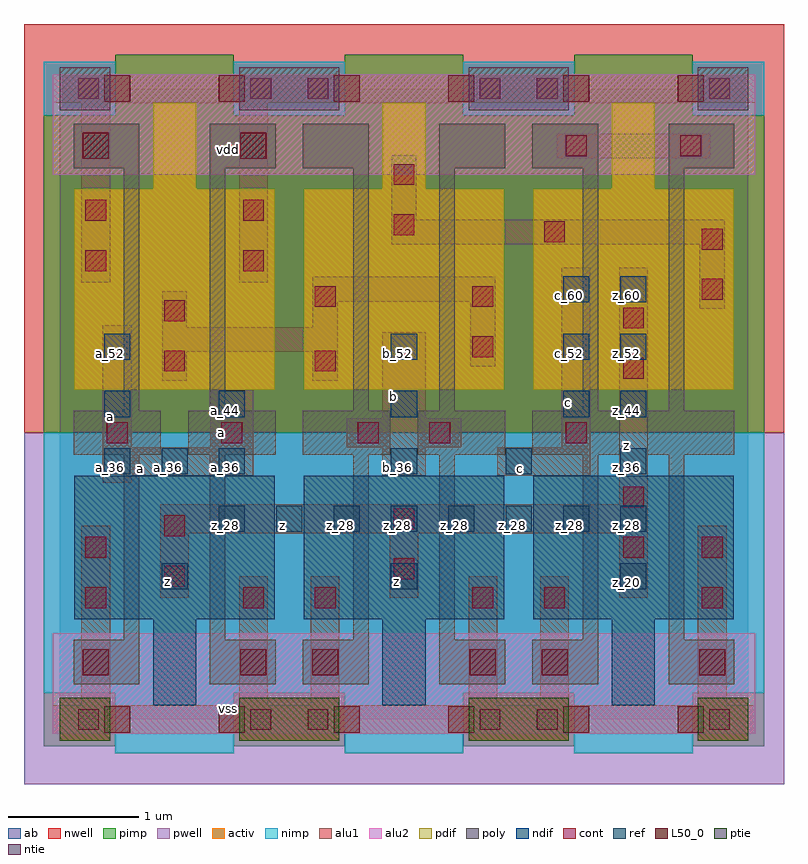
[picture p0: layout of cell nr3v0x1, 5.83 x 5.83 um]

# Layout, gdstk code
import gdstk
lib = gdstk.Library(unit=1e-6, precision=2.5e-09)
def R(c, l, rs):  # rectangles x0, y0, x1, y1
    for r in rs: c.add(gdstk.rectangle(r[:2], r[2:], *l))
def A(c, l, x, y, w, h, nx, ny, dx, dy):  # array of equal rectangles
    R(c, l, [(x+i*dx, y+j*dy, x+i*dx+w, y+j*dy+h) for i in range(nx) for j in range(ny)])
ndif = (3, 0)
pdif = (4, 0)
ntie = (5, 0)
ptie = (6, 0)
ref = (24, 0)
cont = (25, 0)
pwell = (41, 0)
nwell = (42, 0)
activ = (43, 0)
pimp = (44, 0)
nimp = (45, 0)
poly = (46, 0)
alu1 = (49, 0)
L50_0 = (50, 0)
alu2 = (51, 0)
ab = (63, 0)

nr3v0x1 = lib.new_cell('nr3v0x1')
A(nr3v0x1, ndif, 0.715, 0.11, 0.33, 0.66, 3, 1, 1.76, 0)
A(nr3v0x1, ndif, 0.11, 0.77, 1.54, 1.1, 3, 1, 1.76, 0)
A(nr3v0x1, pdif, 0.11, 2.53, 1.54, 1.54, 3, 1, 1.76, 0)
A(nr3v0x1, pdif, 0.715, 4.07, 0.33, 0.66, 3, 1, 1.76, 0)
R(nr3v0x1, ntie, [(0,4.675,0.385,5.005), (1.375,4.675,2.145,5.005), (3.135,4.675,3.905,5.005), (4.895,4.675,5.28,5.005)])
R(nr3v0x1, ptie, [(0,-0.165,0.385,0.165), (1.375,-0.165,2.145,0.165), (3.135,-0.165,3.905,0.165), (4.895,-0.165,5.28,0.165)])
A(nr3v0x1, ref, 0.78, 1, 0.2, 0.2, 3, 1, 1.76, 0)
A(nr3v0x1, ref, 1.22, 1.44, 0.2, 0.2, 8, 1, 0.44, 0)
A(nr3v0x1, ref, 0.34, 1.88, 0.2, 0.2, 3, 1, 0.44, 0)
A(nr3v0x1, ref, 2.54, 1.88, 0.2, 0.2, 3, 1, 0.88, 0)
A(nr3v0x1, ref, 1.22, 2.32, 0.2, 0.2, 3, 1, 1.32, 0)
A(nr3v0x1, ref, 4.3, 2.32, 0.2, 0.2, 1, 3, 0, 0.44)
R(nr3v0x1, ref, [(0.34,2.32,0.54,2.52), (0.34,2.76,0.54,2.96), (2.54,2.76,2.74,2.96), (3.86,2.76,4.06,2.96), (3.86,3.2,4.06,3.4)])
R(nr3v0x1, cont, [(0.14,-0.08,0.3,0.08), (1.46,-0.08,1.62,0.08), (1.9,-0.08,2.06,0.08), (3.22,-0.08,3.38,0.08), (3.66,-0.08,3.82,0.08), (4.98,-0.08,5.14,0.08), (0.195,0.855,0.355,1.015), (1.405,0.855,1.565,1.015), (1.955,0.855,2.115,1.015), (3.165,0.855,3.325,1.015), (3.715,0.855,3.875,1.015), (4.925,0.855,5.085,1.015), (0.8,1.02,0.96,1.18), (2.56,1.075,2.72,1.235), (0.195,1.24,0.355,1.4), (4.32,1.24,4.48,1.4), (4.925,1.24,5.085,1.4), (0.8,1.405,0.96,1.565), (2.56,1.46,2.72,1.62), (4.32,1.625,4.48,1.785), (0.36,2.12,0.52,2.28), (1.24,2.12,1.4,2.28), (2.285,2.12,2.445,2.28), (2.835,2.12,2.995,2.28), (3.88,2.12,4.04,2.28), (4.32,2.615,4.48,2.775), (0.8,2.67,0.96,2.83), (1.955,2.67,2.115,2.83), (3.165,2.78,3.325,2.94), (4.32,3,4.48,3.16), (0.8,3.055,0.96,3.215), (1.955,3.165,2.115,3.325), (3.165,3.165,3.325,3.325), (4.925,3.22,5.085,3.38), (0.195,3.44,0.355,3.6), (1.405,3.44,1.565,3.6), (4.925,3.605,5.085,3.765), (3.715,3.66,3.875,3.82), (2.56,3.715,2.72,3.875), (0.195,3.825,0.355,3.985), (1.405,3.825,1.565,3.985), (2.56,4.1,2.72,4.26), (3.88,4.32,4.04,4.48), (4.76,4.32,4.92,4.48), (0.14,4.76,0.3,4.92), (1.46,4.76,1.62,4.92), (1.9,4.76,2.06,4.92), (3.22,4.76,3.38,4.92), (3.66,4.76,3.82,4.92), (4.98,4.76,5.14,4.92)])
R(nr3v0x1, pwell, [(-0.275,-0.495,5.555,2.2)])
R(nr3v0x1, nwell, [(-0.275,2.2,5.555,5.335)])
A(nr3v0x1, activ, 0.715, 0.11, 0.33, 0.66, 3, 2, 1.76, 3.96)
A(nr3v0x1, activ, 0.11, 0.77, 1.54, 1.1, 3, 1, 1.76, 0)
A(nr3v0x1, activ, 0.11, 2.53, 1.54, 1.54, 3, 1, 1.76, 0)
R(nr3v0x1, activ, [(0,-0.165,0.385,0.165), (1.375,-0.165,2.145,0.165), (3.135,-0.165,3.905,0.165), (4.895,-0.165,5.28,0.165), (0,4.675,0.385,5.005), (1.375,4.675,2.145,5.005), (3.135,4.675,3.905,5.005), (4.895,4.675,5.28,5.005)])
A(nr3v0x1, pimp, 0.425, 4.635, 0.91, 0.465, 3, 1, 1.76, 0)
R(nr3v0x1, pimp, [(-0.125,-0.205,0.425,0.205), (1.335,-0.205,2.185,0.205), (3.095,-0.205,3.945,0.205), (4.855,-0.205,5.405,0.205), (-0.125,2.2,5.405,4.635)])
A(nr3v0x1, nimp, 0.425, -0.26, 0.91, 0.465, 3, 1, 1.76, 0)
R(nr3v0x1, nimp, [(-0.125,0.205,5.405,2.2), (-0.125,4.635,0.425,5.045), (1.335,4.635,2.185,5.045), (3.095,4.635,3.945,5.045), (4.855,4.635,5.405,5.045)])
A(nr3v0x1, poly, 0.105, 2.03, 0.67, 0.34, 6, 1, 0.88, 0)
R(nr3v0x1, poly, [(0.105,0.27,0.61,0.61), (1.15,0.27,1.655,0.61), (1.865,0.27,2.37,0.61), (2.91,0.27,3.415,0.61), (3.625,0.27,4.13,0.61), (4.67,0.27,5.175,0.61), (0.49,0.61,0.61,2.03), (1.15,0.61,1.27,2.03), (2.25,0.61,2.37,2.03), (2.91,0.61,3.03,2.03), (4.01,0.61,4.13,2.03), (4.67,0.61,4.79,2.03), (0.49,2.37,0.61,4.23), (1.15,2.37,1.27,4.23), (2.25,2.37,2.37,4.23), (2.91,2.37,3.03,4.23), (4.01,2.37,4.13,4.23), (4.67,2.37,4.79,4.23), (0.105,4.23,0.61,4.57), (1.15,4.23,1.655,4.57), (1.865,4.23,2.37,4.57), (2.91,4.23,3.415,4.57), (3.625,4.23,4.13,4.57), (4.67,4.23,5.175,4.57)])
A(nr3v0x1, alu1, 0.77, 0.935, 0.22, 0.495, 3, 1, 1.76, 0)
R(nr3v0x1, alu1, [(-0.055,-0.11,5.335,0.11), (0.165,0.11,0.385,1.485), (1.375,0.11,1.595,1.1), (1.925,0.11,2.145,1.1), (3.135,0.11,3.355,1.1), (3.685,0.11,3.905,1.1), (4.895,0.11,5.115,1.485), (0.77,1.43,4.51,1.65), (4.29,1.65,4.51,3.465), (0.33,1.815,0.55,1.87), (0.33,1.87,1.485,2.09), (2.475,1.87,2.805,2.09), (3.355,1.87,4.07,2.09), (0.33,2.09,0.55,3.025), (1.155,2.09,1.485,2.53), (2.2,2.09,3.08,2.31), (3.85,2.09,4.07,3.465), (2.475,2.31,2.805,2.97), (0.785,2.6,0.975,2.82), (1.94,2.6,2.13,2.82), (3.15,2.71,3.34,3.205), (0.785,2.82,2.13,3.01), (0.785,3.01,0.975,3.285), (1.94,3.01,2.13,3.205), (4.91,3.15,5.1,3.645), (1.94,3.205,3.34,3.395), (0.165,3.355,0.385,4.73), (1.375,3.355,1.595,4.73), (2.545,3.645,5.1,3.835), (2.545,3.835,2.735,4.33), (3.81,4.305,4.99,4.495), (-0.055,4.73,5.335,4.95)])
A(nr3v0x1, L50_0, 0.34, -0.1, 0.2, 0.2, 6, 2, 0.88, 4.84)
R(nr3v0x1, L50_0, [(0.175,0.34,0.375,0.54), (1.385,0.34,1.585,0.54), (1.935,0.34,2.135,0.54), (3.145,0.34,3.345,0.54), (3.695,0.34,3.895,0.54), (4.905,0.34,5.105,0.54), (0.175,4.3,0.375,4.5), (1.385,4.3,1.585,4.5)])
R(nr3v0x1, alu2, [(-0.055,-0.11,5.335,0.66), (-0.055,4.18,5.335,4.95)])
R(nr3v0x1, ab, [(0,0,5.28,4.84)])
nr3v0x1.add(gdstk.Label('z', (2.585,1.0575), layer=49, texttype=0))
nr3v0x1.add(gdstk.Label('z', (0.825,1.0575), layer=49, texttype=0))
nr3v0x1.add(gdstk.Label('z', (1.705,1.485), layer=49, texttype=0))
nr3v0x1.add(gdstk.Label('z', (4.345,2.1025), layer=49, texttype=0))
nr3v0x1.add(gdstk.Label('c', (3.5325,1.925), layer=49, texttype=0))
nr3v0x1.add(gdstk.Label('a', (0.6175,1.925), layer=49, texttype=0))
nr3v0x1.add(gdstk.Label('c', (3.905,2.4325), layer=49, texttype=0))
nr3v0x1.add(gdstk.Label('b', (2.5575,2.475), layer=49, texttype=0))
nr3v0x1.add(gdstk.Label('a', (1.2375,2.2), layer=49, texttype=0))
nr3v0x1.add(gdstk.Label('a', (0.385,2.3225), layer=49, texttype=0))
nr3v0x1.add(gdstk.Label('vss', (1.2925,0.0825), layer=51, texttype=0))
nr3v0x1.add(gdstk.Label('vdd', (1.2925,4.3725), layer=51, texttype=0))
nr3v0x1.add(gdstk.Label('z_52', (4.35,2.81), layer=24, texttype=0))
nr3v0x1.add(gdstk.Label('z_44', (4.35,2.37), layer=24, texttype=0))
nr3v0x1.add(gdstk.Label('z_36', (4.35,1.93), layer=24, texttype=0))
nr3v0x1.add(gdstk.Label('z_28', (4.35,1.49), layer=24, texttype=0))
nr3v0x1.add(gdstk.Label('z_20', (4.35,1.05), layer=24, texttype=0))
nr3v0x1.add(gdstk.Label('z_60', (4.35,3.25), layer=24, texttype=0))
nr3v0x1.add(gdstk.Label('z_20', (0.83,1.05), layer=24, texttype=0))
nr3v0x1.add(gdstk.Label('a_36', (0.39,1.93), layer=24, texttype=0))
nr3v0x1.add(gdstk.Label('a_44', (0.39,2.37), layer=24, texttype=0))
nr3v0x1.add(gdstk.Label('a_52', (0.39,2.81), layer=24, texttype=0))
nr3v0x1.add(gdstk.Label('c_44', (3.91,2.37), layer=24, texttype=0))
nr3v0x1.add(gdstk.Label('c_52', (3.91,2.81), layer=24, texttype=0))
nr3v0x1.add(gdstk.Label('z_28', (3.91,1.49), layer=24, texttype=0))
nr3v0x1.add(gdstk.Label('z_28', (3.47,1.49), layer=24, texttype=0))
nr3v0x1.add(gdstk.Label('z_28', (3.03,1.49), layer=24, texttype=0))
nr3v0x1.add(gdstk.Label('z_28', (2.59,1.49), layer=24, texttype=0))
nr3v0x1.add(gdstk.Label('z_28', (2.15,1.49), layer=24, texttype=0))
nr3v0x1.add(gdstk.Label('z_28', (1.71,1.49), layer=24, texttype=0))
nr3v0x1.add(gdstk.Label('z_28', (1.27,1.49), layer=24, texttype=0))
nr3v0x1.add(gdstk.Label('z_20', (2.59,1.05), layer=24, texttype=0))
nr3v0x1.add(gdstk.Label('c_60', (3.91,3.25), layer=24, texttype=0))
nr3v0x1.add(gdstk.Label('b_52', (2.59,2.81), layer=24, texttype=0))
nr3v0x1.add(gdstk.Label('b_44', (2.59,2.37), layer=24, texttype=0))
nr3v0x1.add(gdstk.Label('b_36', (2.59,1.93), layer=24, texttype=0))
nr3v0x1.add(gdstk.Label('a_36', (0.83,1.93), layer=24, texttype=0))
nr3v0x1.add(gdstk.Label('a_44', (1.27,2.37), layer=24, texttype=0))
nr3v0x1.add(gdstk.Label('a_36', (1.27,1.93), layer=24, texttype=0))
nr3v0x1.add(gdstk.Label('c_36', (3.47,1.93), layer=24, texttype=0))

lib.write_gds('nr3v0x1.gds')
